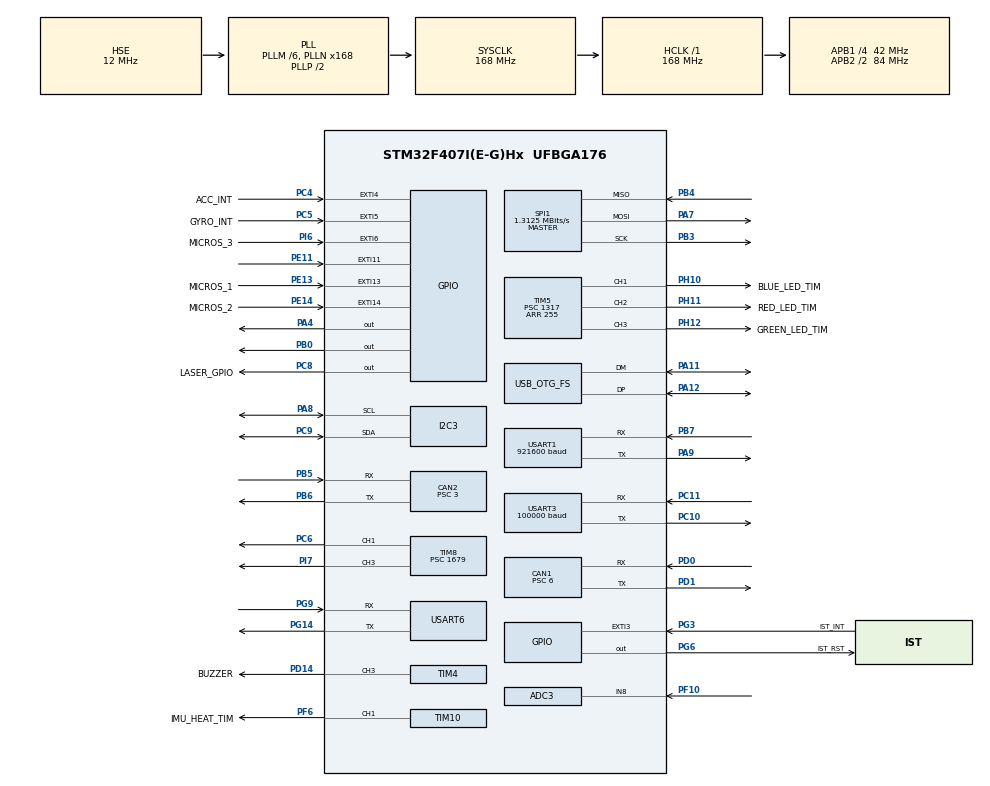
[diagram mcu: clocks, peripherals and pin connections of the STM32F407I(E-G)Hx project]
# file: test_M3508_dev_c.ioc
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ADC3.Channel-0\#ChannelRegularConversion=ADC_CHANNEL_8
ADC3.NbrOfConversionFlag=1
ADC3.Rank-0\#ChannelRegularConversion=1
ADC3.SamplingTime-0\#ChannelRegularConversion=ADC_SAMPLETIME_3CYCLES
CAN1.BS1=CAN_BS1_5TQ
CAN1.CalculateBaudRate=1000000
CAN1.CalculateTimeBit=1000
CAN1.CalculateTimeQuantum=142.85714285714286
CAN1.Prescaler=6
CAN2.BS1=CAN_BS1_10TQ
CAN2.BS2=CAN_BS2_3TQ
CAN2.CalculateBaudRate=1000000
CAN2.CalculateTimeBit=1000
CAN2.CalculateTimeQuantum=71.42857142857143
CAN2.Prescaler=3
Dma.I2C3_RX.3.Direction=DMA_PERIPH_TO_MEMORY
Dma.I2C3_RX.3.FIFOMode=DMA_FIFOMODE_DISABLE
Dma.I2C3_RX.3.Instance=DMA1_Stream2
Dma.I2C3_RX.3.MemDataAlignment=DMA_MDATAALIGN_BYTE
Dma.I2C3_RX.3.MemInc=DMA_MINC_ENABLE
Dma.I2C3_RX.3.Mode=DMA_NORMAL
Dma.I2C3_RX.3.PeriphDataAlignment=DMA_PDATAALIGN_BYTE
Dma.I2C3_RX.3.PeriphInc=DMA_PINC_DISABLE
Dma.I2C3_RX.3.Priority=DMA_PRIORITY_LOW
Dma.I2C3_TX.4.Direction=DMA_MEMORY_TO_PERIPH
Dma.I2C3_TX.4.FIFOMode=DMA_FIFOMODE_DISABLE
Dma.I2C3_TX.4.Instance=DMA1_Stream4
Dma.I2C3_TX.4.MemDataAlignment=DMA_MDATAALIGN_BYTE
Dma.I2C3_TX.4.MemInc=DMA_MINC_ENABLE
Dma.I2C3_TX.4.Mode=DMA_NORMAL
Dma.I2C3_TX.4.PeriphDataAlignment=DMA_PDATAALIGN_BYTE
Dma.I2C3_TX.4.PeriphInc=DMA_PINC_DISABLE
Dma.I2C3_TX.4.Priority=DMA_PRIORITY_LOW
Dma.Request0=USART6_RX
Dma.Request1=USART3_RX
Dma.Request2=USART1_RX
Dma.Request3=I2C3_RX
Dma.Request4=I2C3_TX
Dma.Request5=SPI1_RX
Dma.Request6=SPI1_TX
Dma.Request7=USART6_TX
Dma.SPI1_RX.5.Direction=DMA_PERIPH_TO_MEMORY
Dma.SPI1_RX.5.FIFOMode=DMA_FIFOMODE_DISABLE
Dma.SPI1_RX.5.Instance=DMA2_Stream0
Dma.SPI1_RX.5.MemDataAlignment=DMA_MDATAALIGN_BYTE
Dma.SPI1_RX.5.MemInc=DMA_MINC_ENABLE
Dma.SPI1_RX.5.Mode=DMA_NORMAL
Dma.SPI1_RX.5.PeriphDataAlignment=DMA_PDATAALIGN_BYTE
Dma.SPI1_RX.5.PeriphInc=DMA_PINC_DISABLE
Dma.SPI1_RX.5.Priority=DMA_PRIORITY_LOW
Dma.SPI1_TX.6.Direction=DMA_MEMORY_TO_PERIPH
Dma.SPI1_TX.6.FIFOMode=DMA_FIFOMODE_DISABLE
Dma.SPI1_TX.6.Instance=DMA2_Stream3
Dma.SPI1_TX.6.MemDataAlignment=DMA_MDATAALIGN_BYTE
Dma.SPI1_TX.6.MemInc=DMA_MINC_ENABLE
Dma.SPI1_TX.6.Mode=DMA_NORMAL
Dma.SPI1_TX.6.PeriphDataAlignment=DMA_PDATAALIGN_BYTE
Dma.SPI1_TX.6.PeriphInc=DMA_PINC_DISABLE
Dma.SPI1_TX.6.Priority=DMA_PRIORITY_LOW
Dma.USART1_RX.2.Direction=DMA_PERIPH_TO_MEMORY
Dma.USART1_RX.2.FIFOMode=DMA_FIFOMODE_DISABLE
Dma.USART1_RX.2.Instance=DMA2_Stream5
Dma.USART1_RX.2.MemDataAlignment=DMA_MDATAALIGN_BYTE
Dma.USART1_RX.2.MemInc=DMA_MINC_ENABLE
Dma.USART1_RX.2.Mode=DMA_CIRCULAR
Dma.USART1_RX.2.PeriphDataAlignment=DMA_PDATAALIGN_BYTE
Dma.USART1_RX.2.PeriphInc=DMA_PINC_DISABLE
Dma.USART1_RX.2.Priority=DMA_PRIORITY_LOW
Dma.USART3_RX.1.Direction=DMA_PERIPH_TO_MEMORY
Dma.USART3_RX.1.FIFOMode=DMA_FIFOMODE_DISABLE
Dma.USART3_RX.1.Instance=DMA1_Stream1
Dma.USART3_RX.1.MemDataAlignment=DMA_MDATAALIGN_BYTE
Dma.USART3_RX.1.MemInc=DMA_MINC_ENABLE
Dma.USART3_RX.1.Mode=DMA_CIRCULAR
Dma.USART3_RX.1.PeriphDataAlignment=DMA_PDATAALIGN_BYTE
Dma.USART3_RX.1.PeriphInc=DMA_PINC_DISABLE
Dma.USART3_RX.1.Priority=DMA_PRIORITY_LOW
Dma.USART6_RX.0.Direction=DMA_PERIPH_TO_MEMORY
Dma.USART6_RX.0.FIFOMode=DMA_FIFOMODE_DISABLE
Dma.USART6_RX.0.Instance=DMA2_Stream1
Dma.USART6_RX.0.MemDataAlignment=DMA_MDATAALIGN_BYTE
Dma.USART6_RX.0.MemInc=DMA_MINC_ENABLE
Dma.USART6_RX.0.Mode=DMA_CIRCULAR
Dma.USART6_RX.0.PeriphDataAlignment=DMA_PDATAALIGN_BYTE
Dma.USART6_RX.0.PeriphInc=DMA_PINC_DISABLE
Dma.USART6_RX.0.Priority=DMA_PRIORITY_LOW
Dma.USART6_TX.7.Direction=DMA_MEMORY_TO_PERIPH
Dma.USART6_TX.7.FIFOMode=DMA_FIFOMODE_DISABLE
Dma.USART6_TX.7.Instance=DMA2_Stream6
Dma.USART6_TX.7.MemDataAlignment=DMA_MDATAALIGN_BYTE
Dma.USART6_TX.7.MemInc=DMA_MINC_ENABLE
Dma.USART6_TX.7.Mode=DMA_NORMAL
Dma.USART6_TX.7.PeriphDataAlignment=DMA_PDATAALIGN_BYTE
Dma.USART6_TX.7.PeriphInc=DMA_PINC_DISABLE
Dma.USART6_TX.7.Priority=DMA_PRIORITY_LOW
I2C3.I2C_Mode=I2C_Fast
Mcu.Family=STM32F4
Mcu.Name=STM32F407I(E-G)Hx
Mcu.Package=UFBGA176
Mcu.UserConstants=FREERTOS_ENABLED,1
NVIC.CAN1_RX0_IRQn=true\:0\:0\:false\:false\:true\:true\:true\:true
NVIC.CAN1_RX1_IRQn=true\:0\:0\:false\:false\:true\:true\:true\:true
NVIC.CAN2_RX0_IRQn=true\:0\:0\:false\:false\:true\:true\:true\:true
NVIC.CAN2_RX1_IRQn=true\:0\:0\:false\:false\:true\:true\:true\:true
NVIC.DMA1_Stream1_IRQn=true\:0\:0\:false\:false\:true\:false\:true\:true
NVIC.DMA1_Stream2_IRQn=true\:0\:0\:false\:false\:true\:false\:true\:true
NVIC.DMA1_Stream4_IRQn=true\:0\:0\:false\:false\:true\:false\:true\:true
NVIC.DMA2_Stream0_IRQn=true\:0\:0\:false\:false\:true\:false\:true\:true
NVIC.DMA2_Stream1_IRQn=true\:0\:0\:false\:false\:true\:false\:true\:true
NVIC.DMA2_Stream3_IRQn=true\:0\:0\:false\:false\:true\:false\:true\:true
NVIC.DMA2_Stream5_IRQn=true\:0\:0\:false\:false\:true\:false\:true\:true
NVIC.DMA2_Stream6_IRQn=true\:0\:0\:false\:false\:true\:false\:true\:true
NVIC.EXTI15_10_IRQn=true\:0\:0\:false\:false\:true\:true\:true\:true
NVIC.EXTI3_IRQn=true\:0\:0\:false\:false\:true\:true\:true\:true
NVIC.EXTI4_IRQn=true\:0\:0\:false\:false\:true\:true\:true\:true
NVIC.EXTI9_5_IRQn=true\:0\:0\:false\:false\:true\:true\:true\:true
NVIC.I2C3_ER_IRQn=true\:0\:0\:false\:false\:true\:true\:true\:true
NVIC.PriorityGroup=NVIC_PRIORITYGROUP_4
NVIC.TIM3_IRQn=true\:0\:0\:false\:false\:true\:true\:true\:true
NVIC.TIM6_DAC_IRQn=true\:15\:0\:true\:false\:true\:false\:true\:true
NVIC.TimeBase=TIM6_DAC_IRQn
NVIC.TimeBaseIP=TIM6
NVIC.USART1_IRQn=true\:0\:0\:false\:false\:true\:true\:true\:true
NVIC.USART3_IRQn=true\:0\:0\:false\:false\:true\:true\:true\:true
NVIC.USART6_IRQn=true\:0\:0\:false\:false\:true\:true\:true\:true
PA11.Mode=Device_Only
PA11.Signal=USB_OTG_FS_DM
PA12.Mode=Device_Only
PA12.Signal=USB_OTG_FS_DP
PA13.Mode=Serial_Wire
PA13.Signal=SYS_JTMS-SWDIO
PA14.Mode=Serial_Wire
PA14.Signal=SYS_JTCK-SWCLK
PA4.PinState=GPIO_PIN_SET
PA4.Signal=GPIO_Output
PA7.Mode=Full_Duplex_Master
PA7.Signal=SPI1_MOSI
PA8.GPIO_Pu=GPIO_PULLUP
PA8.Mode=I2C
PA8.Signal=I2C3_SCL
PA9.Mode=Asynchronous
PA9.Signal=USART1_TX
PB0.PinState=GPIO_PIN_SET
PB0.Signal=GPIO_Output
PB3.Mode=Full_Duplex_Master
PB3.Signal=SPI1_SCK
PB4.Mode=Full_Duplex_Master
PB4.Signal=SPI1_MISO
PB5.Mode=CAN_Activate
PB5.Signal=CAN2_RX
PB6.Mode=CAN_Activate
PB6.Signal=CAN2_TX
PB7.GPIO_PuPd=GPIO_NOPULL
PB7.Mode=Asynchronous
PB7.Signal=USART1_RX
PC10.Mode=Asynchronous
PC10.Signal=USART3_TX
PC11.Mode=Asynchronous
PC11.Signal=USART3_RX
PC4.GPIO_Label=ACC_INT
PC4.GPIO_ModeDefaultEXTI=GPIO_MODE_IT_FALLING
PC4.GPIO_PuPd=GPIO_PULLUP
PC4.Signal=GPXTI4
PC5.GPIO_Label=GYRO_INT
PC5.GPIO_ModeDefaultEXTI=GPIO_MODE_IT_FALLING
PC5.GPIO_PuPd=GPIO_PULLUP
PC5.Signal=GPXTI5
PC6.Signal=S_TIM8_CH1
PC8.GPIO_Label=LASER_GPIO
PC8.PinState=GPIO_PIN_RESET
PC8.Signal=GPIO_Output
PC9.GPIO_Pu=GPIO_PULLUP
PC9.Mode=I2C
PC9.Signal=I2C3_SDA
PD0.Mode=CAN_Activate
PD0.Signal=CAN1_RX
PD1.Mode=CAN_Activate
PD1.Signal=CAN1_TX
PD14.GPIO_Label=BUZZER
PD14.Signal=S_TIM4_CH3
PE11.GPIO_ModeDefaultEXTI=GPIO_MODE_IT_RISING_FALLING
PE11.GPIO_PuPd=GPIO_PULLDOWN
PE11.Signal=GPXTI11
PE13.GPIO_Label=MICROS_1
PE13.GPIO_ModeDefaultEXTI=GPIO_MODE_IT_RISING_FALLING
PE13.GPIO_PuPd=GPIO_PULLUP
PE13.Signal=GPXTI13
PE14.GPIO_Label=MICROS_2
PE14.GPIO_PuPd=GPIO_PULLUP
PE14.Signal=GPXTI14
PF10.Mode=IN8
PF10.Signal=ADC3_IN8
PF6.GPIO_Label=IMU_HEAT_TIM
PF6.Signal=S_TIM10_CH1
PG14.Mode=Asynchronous
PG14.Signal=USART6_TX
PG3.GPIO_Label=IST_INT
PG3.GPIO_ModeDefaultEXTI=GPIO_MODE_IT_FALLING
PG3.GPIO_PuPd=GPIO_PULLUP
PG3.Signal=GPXTI3
PG6.GPIO_Label=IST_RST
PG6.Signal=GPIO_Output
PG9.Mode=Asynchronous
PG9.Signal=USART6_RX
PH0-OSC_IN.Mode=HSE-External-Oscillator
PH0-OSC_IN.Signal=RCC_OSC_IN
PH1-OSC_OUT.Mode=HSE-External-Oscillator
PH1-OSC_OUT.Signal=RCC_OSC_OUT
PH10.GPIO_Label=BLUE_LED_TIM
PH10.Signal=S_TIM5_CH1
PH11.GPIO_Label=RED_LED_TIM
PH11.Signal=S_TIM5_CH2
PH12.GPIO_Label=GREEN_LED_TIM
PH12.Signal=S_TIM5_CH3
PI6.GPIO_Label=MICROS_3
PI6.GPIO_PuPd=GPIO_PULLUP
PI6.Signal=GPXTI6
PI7.Signal=S_TIM8_CH3
ProjectManager.HeapSize=0x4000
ProjectManager.StackSize=0x9000
ProjectManager.TargetToolchain=STM32CubeIDE
RCC.48MHZClocksFreq_Value=48000000
RCC.AHBFreq_Value=168000000
RCC.APB1CLKDivider=RCC_HCLK_DIV4
RCC.APB1Freq_Value=42000000
RCC.APB1TimFreq_Value=84000000
RCC.APB2CLKDivider=RCC_HCLK_DIV2
RCC.APB2Freq_Value=84000000
RCC.APB2TimFreq_Value=168000000
RCC.CortexFreq_Value=168000000
RCC.HCLKFreq_Value=168000000
RCC.HSE_VALUE=12000000
RCC.HSI_VALUE=16000000
RCC.LSE_VALUE=32768
RCC.PLLM=6
RCC.PLLN=168
RCC.PLLQ=7
RCC.SYSCLKFreq_VALUE=168000000
RCC.SYSCLKSource=RCC_SYSCLKSOURCE_PLLCLK
RCC.VCOOutputFreq_Value=336000000
SH.S_TIM10_CH1.0=TIM10_CH1,PWM Generation1 CH1
SH.S_TIM4_CH3.0=TIM4_CH3,PWM Generation3 CH3
SH.S_TIM5_CH1.0=TIM5_CH1,PWM Generation1 CH1
SH.S_TIM5_CH2.0=TIM5_CH2,PWM Generation2 CH2
SH.S_TIM5_CH3.0=TIM5_CH3,PWM Generation3 CH3
SH.S_TIM8_CH1.0=TIM8_CH1,PWM Generation1 CH1
SH.S_TIM8_CH3.0=TIM8_CH3,PWM Generation3 CH3
SPI1.BaudRatePrescaler=SPI_BAUDRATEPRESCALER_64
SPI1.CalculateBaudRate=1.3125 MBits/s
SPI1.Direction=SPI_DIRECTION_2LINES
SPI1.Mode=SPI_MODE_MASTER
SPI1.VirtualType=VM_MASTER
TIM10.Channel=TIM_CHANNEL_1
TIM3.Channel-Output\ Compare1\ No\ Output=TIM_CHANNEL_1
TIM3.Period=1
TIM3.Prescaler=168-1
TIM4.Channel-PWM\ Generation3\ CH3=TIM_CHANNEL_3
TIM4.Period=1000-1
TIM4.Prescaler=1000-1
TIM5.AutoReloadPreload=TIM_AUTORELOAD_PRELOAD_ENABLE
TIM5.Channel-PWM\ Generation1\ CH1=TIM_CHANNEL_1
TIM5.Channel-PWM\ Generation2\ CH2=TIM_CHANNEL_2
TIM5.Channel-PWM\ Generation3\ CH3=TIM_CHANNEL_3
TIM5.OCFastMode_PWM-PWM\ Generation1\ CH1=TIM_OCFAST_ENABLE
TIM5.OCFastMode_PWM-PWM\ Generation2\ CH2=TIM_OCFAST_ENABLE
TIM5.OCFastMode_PWM-PWM\ Generation3\ CH3=TIM_OCFAST_ENABLE
TIM5.OCMode_PWM-PWM\ Generation2\ CH2=TIM_OCMODE_PWM1
TIM5.OCPolarity_1=TIM_OCPOLARITY_LOW
TIM5.OCPolarity_2=TIM_OCPOLARITY_LOW
TIM5.OCPolarity_3=TIM_OCPOLARITY_LOW
TIM5.Period=255
TIM5.Prescaler=1317
TIM8.Channel-PWM\ Generation1\ CH1=TIM_CHANNEL_1
TIM8.Channel-PWM\ Generation3\ CH3=TIM_CHANNEL_3
TIM8.Period=1999
TIM8.Prescaler=1679
USART1.BaudRate=921600
USART1.Mode=MODE_TX_RX
USART1.VirtualMode=VM_ASYNC
USART3.BaudRate=100000
USART3.Parity=PARITY_EVEN
USART3.VirtualMode=VM_ASYNC
USART3.WordLength=WORDLENGTH_9B
USART6.VirtualMode=VM_ASYNC
USB_OTG_FS.VirtualMode=Device_Only
VP_CRC_VS_CRC.Mode=CRC_Activate
VP_RNG_VS_RNG.Mode=RNG_Activate
VP_SYS_VS_tim6.Mode=TIM6
VP_TIM10_VS_ClockSourceINT.Mode=Enable_Timer
VP_TIM2_VS_ClockSourceINT.Mode=Internal
VP_TIM3_VS_ClockSourceINT.Mode=Internal
VP_TIM3_VS_no_output1.Mode=Output Compare1 No Output
board=custom

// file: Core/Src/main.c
/* USER CODE BEGIN Header */
/**
  ******************************************************************************
  * @file           : main.c
  * @brief          : Main program body
  ******************************************************************************
  * @attention
  *
  * Copyright (c) 2025 STMicroelectronics.
  * All rights reserved.
  *
  * This software is licensed under terms that can be found in the LICENSE file
  * in the root directory of this software component.
  * If no LICENSE file comes with this software, it is provided AS-IS.
  *
  ******************************************************************************
  */
/* USER CODE END Header */
#include "main.h"
#include "adc.h"
#include "can.h"
#include "crc.h"
#include "dma.h"
#include "i2c.h"
#include "rng.h"
#include "spi.h"
#include "tim.h"
#include "usart.h"
#include "usb_otg.h"
#include "gpio.h"

/* USER CODE BEGIN Includes */
//#include "board_lib.h"
//#include "startup_task.h"
/* USER CODE END Includes */

/* USER CODE BEGIN PV */
int16_t motor_rpm1;
/* USER CODE END PV */

void SystemClock_Config(void);

/* USER CODE BEGIN 0 */
void setup_can(){
 CAN_FilterTypeDef can_filter_st = {0};
 can_filter_st.FilterActivation = ENABLE;
 can_filter_st.FilterMode = CAN_FILTERMODE_IDMASK;
 can_filter_st.FilterScale = CAN_FILTERSCALE_32BIT;
 can_filter_st.FilterIdHigh = 0;
 can_filter_st.FilterIdLow = 0;
 can_filter_st.FilterMaskIdHigh = 0;
 can_filter_st.FilterMaskIdLow = 0;
 can_filter_st.FilterBank=0;
 can_filter_st.FilterFIFOAssignment = CAN_RX_FIFO0;
 HAL_CAN_ConfigFilter(&hcan1, &can_filter_st);
 HAL_CAN_Start(&hcan1);
 HAL_CAN_ActivateNotification(&hcan1,CAN_IT_RX_FIFO0_MSG_PENDING | CAN_IT_RX_FIFO0_FULL| CAN_IT_RX_FIFO0_OVERRUN);
}

void HAL_CAN_RxFifo0MsgPendingCallback(CAN_HandleTypeDef *hcan){
CAN_RxHeaderTypeDef rx_header;
uint8_t rx_buffer[8];
HAL_CAN_DeactivateNotification(hcan,
  CAN_IT_RX_FIFO0_MSG_PENDING | CAN_IT_RX_FIFO0_FULL| CAN_IT_RX_FIFO0_OVERRUN);
HAL_CAN_GetRxMessage(hcan, CAN_RX_FIFO0, &rx_header, rx_buffer);

if (rx_header.StdId == 0x203)
{
	motor_rpm1 = (rx_buffer[2] << 8) + rx_buffer[3];
}

HAL_CAN_ActivateNotification(hcan,
  CAN_IT_RX_FIFO0_MSG_PENDING | CAN_IT_RX_FIFO0_FULL| CAN_IT_RX_FIFO0_OVERRUN);
}

void ctrl_motor(int16_t torque1){
 uint8_t tx_msg[8];
 CAN_TxHeaderTypeDef CAN_tx_message;
 uint32_t send_mail_box;
 CAN_tx_message.IDE = CAN_ID_STD;
 CAN_tx_message.RTR = CAN_RTR_DATA;
 CAN_tx_message.DLC = 0x08;
 CAN_tx_message.StdId = 0x200;
 tx_msg[4] = torque1>>8;
 tx_msg[5] = torque1;
 HAL_CAN_AddTxMessage(&hcan1, &CAN_tx_message, tx_msg, &send_mail_box);
}

#define KP 10
#define KI 0.1
#define KD 0
#define INT_MAX 5000
int16_t pid_lol(int16_t setpt, int16_t curr_pt){
	static float integral;
	static float prev_error;
	float error = setpt - curr_pt;
	integral += error * KI;
	integral = (integral > INT_MAX) ? INT_MAX : (integral < -INT_MAX) ? -INT_MAX : integral;
	float diff = (prev_error - error) * KD;
	prev_error = error;
	return (error * KP) + integral + diff;

}
/* USER CODE END 0 */

int main(void)
{

  /* MCU Configuration--------------------------------------------------------*/

  /* Reset of all peripherals, Initializes the Flash interface and the Systick. */
  HAL_Init();

  /* Configure the system clock */
  SystemClock_Config();

  /* Initialize all configured peripherals */
  MX_GPIO_Init();
  MX_DMA_Init();
  MX_CAN1_Init();
  MX_CAN2_Init();
  MX_TIM5_Init();
  MX_TIM10_Init();
  MX_USART1_UART_Init();
  MX_USART3_UART_Init();
  MX_USART6_UART_Init();
  MX_SPI1_Init();
  MX_I2C3_Init();
  MX_ADC3_Init();
  MX_TIM3_Init();
  MX_TIM4_Init();
  MX_RNG_Init();
  MX_TIM2_Init();
  MX_CRC_Init();
  MX_TIM8_Init();
  MX_USB_OTG_FS_PCD_Init();
  /* USER CODE BEGIN 2 */
  setup_can();
//  startup_task();
////  MX_USB_DEVICE_Init();
//  HAL_TIM_Base_Start(&htim3); //start micros clock
//  NVIC_SetPriority(SysTick_IRQn, 15);
//  HAL_RNG_GenerateRandomNumber(hrng, random32bit)
  /* USER CODE END 2 */

  /* Infinite loop */
  /* USER CODE BEGIN WHILE */
  int16_t motor = 100;
  while (1)
  {
    /* USER CODE END WHILE */

    /* USER CODE BEGIN 3 */
	 ctrl_motor(pid_lol(motor, motor_rpm1));
	 HAL_Delay(1);
  }
  /* USER CODE END 3 */
}

void SystemClock_Config(void)
{
  RCC_OscInitTypeDef RCC_OscInitStruct = {0};
  RCC_ClkInitTypeDef RCC_ClkInitStruct = {0};

  /** Configure the main internal regulator output voltage
  */
  __HAL_RCC_PWR_CLK_ENABLE();
  __HAL_PWR_VOLTAGESCALING_CONFIG(PWR_REGULATOR_VOLTAGE_SCALE1);

  /** Initializes the RCC Oscillators according to the specified parameters
  * in the RCC_OscInitTypeDef structure.
  */
  RCC_OscInitStruct.OscillatorType = RCC_OSCILLATORTYPE_HSE;
  RCC_OscInitStruct.HSEState = RCC_HSE_ON;
  RCC_OscInitStruct.PLL.PLLState = RCC_PLL_ON;
  RCC_OscInitStruct.PLL.PLLSource = RCC_PLLSOURCE_HSE;
  RCC_OscInitStruct.PLL.PLLM = 6;
  RCC_OscInitStruct.PLL.PLLN = 168;
  RCC_OscInitStruct.PLL.PLLP = RCC_PLLP_DIV2;
  RCC_OscInitStruct.PLL.PLLQ = 7;
  if (HAL_RCC_OscConfig(&RCC_OscInitStruct) != HAL_OK)
  {
    Error_Handler();
  }

  /** Initializes the CPU, AHB and APB buses clocks
  */
  RCC_ClkInitStruct.ClockType = RCC_CLOCKTYPE_HCLK|RCC_CLOCKTYPE_SYSCLK
                              |RCC_CLOCKTYPE_PCLK1|RCC_CLOCKTYPE_PCLK2;
  RCC_ClkInitStruct.SYSCLKSource = RCC_SYSCLKSOURCE_PLLCLK;
  RCC_ClkInitStruct.AHBCLKDivider = RCC_SYSCLK_DIV1;
  RCC_ClkInitStruct.APB1CLKDivider = RCC_HCLK_DIV4;
  RCC_ClkInitStruct.APB2CLKDivider = RCC_HCLK_DIV2;

  if (HAL_RCC_ClockConfig(&RCC_ClkInitStruct, FLASH_LATENCY_5) != HAL_OK)
  {
    Error_Handler();
  }
}

void HAL_TIM_PeriodElapsedCallback(TIM_HandleTypeDef *htim)
{
  if (htim->Instance == TIM6) {
    HAL_IncTick();
  }
}

void Error_Handler(void)
{
  __disable_irq();
  while (1)
  {
  }
}
